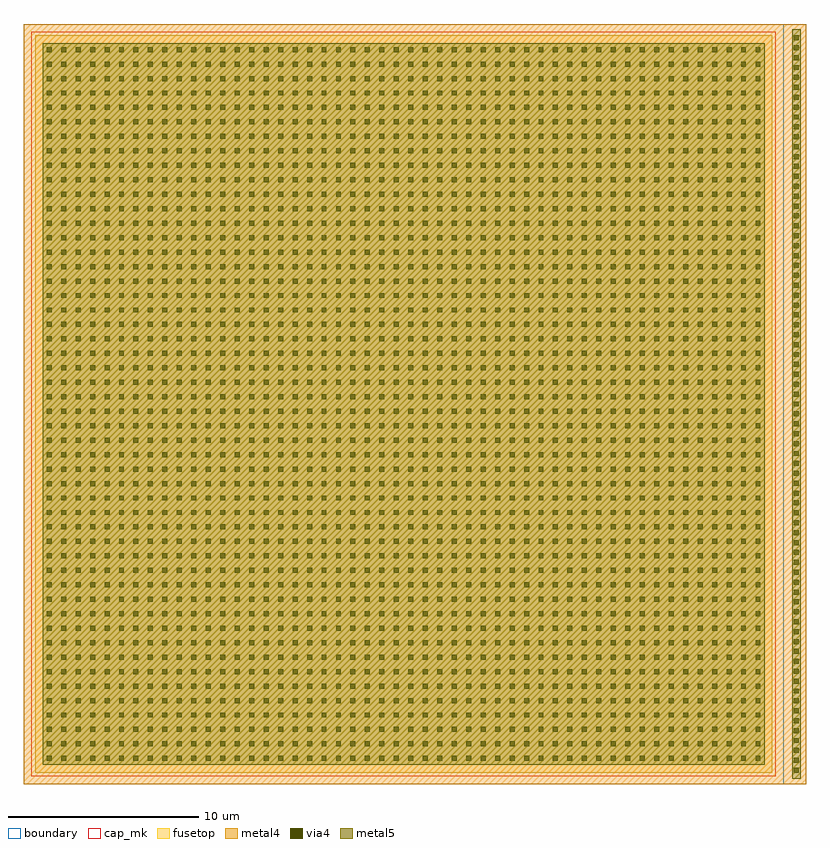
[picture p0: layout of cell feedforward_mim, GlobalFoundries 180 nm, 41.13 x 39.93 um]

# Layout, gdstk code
import gdstk
lib = gdstk.Library(unit=1e-6, precision=1e-09)
def R(c, l, rs):  # rectangles x0, y0, x1, y1
    for r in rs: c.add(gdstk.rectangle(r[:2], r[2:], *l))
def A(c, l, x, y, w, h, nx, ny, dx, dy):  # array of equal rectangles
    R(c, l, [(x+i*dx, y+j*dy, x+i*dx+w, y+j*dy+h) for i in range(nx) for j in range(ny)])
boundary = (0, 0)
via4 = (41, 0)
metal4 = (46, 0)
fusetop = (75, 0)
metal5 = (81, 0)
cap_mk = (117, 5)

feedforward_mim = lib.new_cell('feedforward_mim')
R(feedforward_mim, boundary, [(-20.565,-19.965,19.365,19.965)])
A(feedforward_mim, via4, 19.905, -19.37, 0.26, 0.26, 1, 75, 0, 0.52)
A(feedforward_mim, via4, -19.35, -18.75, 0.26, 0.26, 50, 50, 0.76, 0.76)
R(feedforward_mim, metal4, [(-20.565,-19.965,20.565,19.965)])
R(feedforward_mim, fusetop, [(-19.965,-19.365,18.765,19.365)])
R(feedforward_mim, metal5, [(19.815,-19.68,20.255,19.68), (-19.565,-18.965,18.365,18.965)])
R(feedforward_mim, cap_mk, [(-20.165,-19.565,18.965,19.565)])

lib.write_gds('feedforward_mim.gds')
